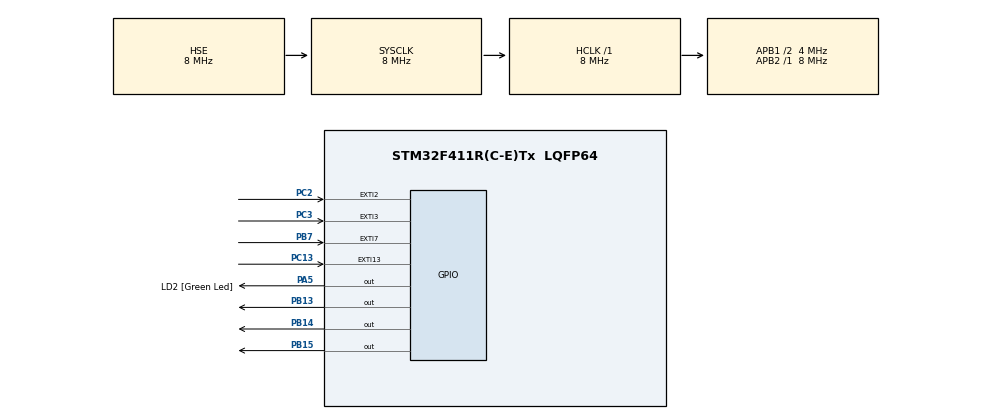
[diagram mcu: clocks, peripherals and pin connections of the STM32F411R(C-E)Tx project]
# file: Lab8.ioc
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FREERTOS.Tasks01=defaultTask,24,128,StartDefaultTask,Default,NULL,Dynamic,NULL,NULL
Mcu.Family=STM32F4
Mcu.Name=STM32F411R(C-E)Tx
Mcu.Package=LQFP64
NVIC.EXTI15_10_IRQn=true\:5\:0\:false\:false\:true\:true\:true\:true\:true
NVIC.EXTI2_IRQn=true\:5\:0\:true\:false\:true\:false\:true\:true\:true
NVIC.EXTI3_IRQn=true\:5\:0\:true\:false\:true\:false\:true\:true\:true
NVIC.EXTI9_5_IRQn=true\:5\:0\:true\:false\:true\:false\:true\:true\:true
NVIC.PriorityGroup=NVIC_PRIORITYGROUP_4
NVIC.TIM3_IRQn=true\:15\:0\:false\:false\:true\:false\:false\:true\:true
NVIC.TimeBase=TIM3_IRQn
NVIC.TimeBaseIP=TIM3
PA14.Signal=SYS_JTCK-SWCLK
PA2.GPIO_Label=USART_TX
PA2.Signal=USART2_TX
PA3.GPIO_Label=USART_RX
PA3.Signal=USART2_RX
PA5.GPIO_Label=LD2 [Green Led]
PA5.Signal=GPIO_Output
PB13.Signal=GPIO_Output
PB14.Signal=GPIO_Output
PB15.Signal=GPIO_Output
PB3.GPIO_Label=SWO
PB3.Signal=SYS_JTDO-SWO
PB7.GPIO_PuPd=GPIO_PULLDOWN
PB7.Signal=GPXTI7
PC13-ANTI_TAMP.GPIO_PuPd=GPIO_PULLDOWN
PC13-ANTI_TAMP.Signal=GPXTI13
PC2.GPIO_PuPd=GPIO_PULLDOWN
PC2.Signal=GPXTI2
PC3.GPIO_PuPd=GPIO_PULLDOWN
PC3.Signal=GPXTI3
PH0\ -\ OSC_IN.Mode=HSE-External-Oscillator
PH0\ -\ OSC_IN.Signal=RCC_OSC_IN
PH1\ -\ OSC_OUT.Mode=HSE-External-Oscillator
PH1\ -\ OSC_OUT.Signal=RCC_OSC_OUT
ProjectManager.HeapSize=0x200
ProjectManager.StackSize=0x400
ProjectManager.TargetToolchain=STM32CubeIDE
RCC.48MHZClocksFreq_Value=84000000
RCC.AHBFreq_Value=8000000
RCC.APB1CLKDivider=RCC_HCLK_DIV2
RCC.APB1Freq_Value=4000000
RCC.APB1TimFreq_Value=8000000
RCC.APB2Freq_Value=8000000
RCC.APB2TimFreq_Value=8000000
RCC.CortexFreq_Value=8000000
RCC.FLatency-AdvancedSettings=FLASH_LATENCY_0
RCC.HCLKFreq_Value=8000000
RCC.HSE_VALUE=8000000
RCC.HSI_VALUE=16000000
RCC.LSE_VALUE=32768
RCC.PLLN=336
RCC.PLLP=RCC_PLLP_DIV4
RCC.SYSCLKFreq_VALUE=8000000
RCC.SYSCLKSource=RCC_SYSCLKSOURCE_HSE
RCC.VCOOutputFreq_Value=336000000
VP_FREERTOS_VS_CMSIS_V2.Mode=CMSIS_V2
VP_SYS_VS_tim3.Mode=TIM3
board=NUCLEO-F411RE

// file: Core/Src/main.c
/* USER CODE BEGIN Header */
/**
  ******************************************************************************
  * @file           : main.c
  * @brief          : Main program body
  ******************************************************************************
  * @attention
  *
  * Copyright (c) 2026 STMicroelectronics.
  * All rights reserved.
  *
  * This software is licensed under terms that can be found in the LICENSE file
  * in the root directory of this software component.
  * If no LICENSE file comes with this software, it is provided AS-IS.
  *
  ******************************************************************************
  */
/*
 * 3. Створити чотири потоки для PA5, PB13 PС2 PС3, які працюють з різними частотами (1 Гц, 2
Гц, 5 Гц, 10 Гц). Кнопки PC13 PB7 PA14 PA15 змінюють duty cycle кожного світлодіода через повідомлення
у чергу.
 */
/* USER CODE END Header */
#include "main.h"
#include "cmsis_os.h"

/* USER CODE BEGIN Includes */
#include "FreeRTOS.h"
#include "queue.h"
/* USER CODE END Includes */

/* Definitions for defaultTask */
osThreadId_t defaultTaskHandle;
const osThreadAttr_t defaultTask_attributes = {
  .name = "defaultTask",
  .stack_size = 128 * 4,
  .priority = (osPriority_t) osPriorityNormal,
};
/* USER CODE BEGIN PV */
xQueueHandle queue1;
xQueueHandle queue2;
xQueueHandle queue3;
xQueueHandle queue4;
/* USER CODE END PV */

void SystemClock_Config(void);
static void MX_GPIO_Init(void);
void StartDefaultTask(void *argument);

/* USER CODE BEGIN PFP */
void LedTask1(void *argument);
void LedTask2(void *argument);
void LedTask3(void *argument);
void LedTask4(void *argument);
/* USER CODE END PFP */

int main(void)
{

  /* MCU Configuration--------------------------------------------------------*/

  /* Reset of all peripherals, Initializes the Flash interface and the Systick. */
  HAL_Init();

  /* Configure the system clock */
  SystemClock_Config();

  /* Initialize all configured peripherals */
  MX_GPIO_Init();

  /* Init scheduler */
  osKernelInitialize();

  /* USER CODE BEGIN RTOS_QUEUES */
  /* add queues, ... */
   queue1 = xQueueCreate(5, sizeof(uint8_t));
   queue2 = xQueueCreate(5, sizeof(uint8_t));
   queue3 = xQueueCreate(5, sizeof(uint8_t));
   queue4 = xQueueCreate(5, sizeof(uint8_t));
  /* USER CODE END RTOS_QUEUES */

  /* Create the thread(s) */
  /* creation of defaultTask */
  defaultTaskHandle = osThreadNew(StartDefaultTask, NULL, &defaultTask_attributes);

  /* USER CODE BEGIN RTOS_THREADS */
  /* add threads, ... */
  xTaskCreate(LedTask1, "LED1", 128, (void*)queue1, 1, NULL);
  xTaskCreate(LedTask2, "LED2", 128, (void*)queue2, 1, NULL);
  xTaskCreate(LedTask3, "LED3", 128, (void*)queue3, 1, NULL);
  xTaskCreate(LedTask4, "LED4", 128, (void*)queue4, 1, NULL);
  /* USER CODE END RTOS_THREADS */

  /* Start scheduler */
  osKernelStart();

  /* We should never get here as control is now taken by the scheduler */

  /* Infinite loop */
  while (1)
  {

  }
}

void SystemClock_Config(void)
{
  RCC_OscInitTypeDef RCC_OscInitStruct = {0};
  RCC_ClkInitTypeDef RCC_ClkInitStruct = {0};

  /** Configure the main internal regulator output voltage
  */
  __HAL_RCC_PWR_CLK_ENABLE();
  __HAL_PWR_VOLTAGESCALING_CONFIG(PWR_REGULATOR_VOLTAGE_SCALE1);

  /** Initializes the RCC Oscillators according to the specified parameters
  * in the RCC_OscInitTypeDef structure.
  */
  RCC_OscInitStruct.OscillatorType = RCC_OSCILLATORTYPE_HSE;
  RCC_OscInitStruct.HSEState = RCC_HSE_ON;
  RCC_OscInitStruct.PLL.PLLState = RCC_PLL_NONE;
  if (HAL_RCC_OscConfig(&RCC_OscInitStruct) != HAL_OK)
  {
    Error_Handler();
  }

  /** Initializes the CPU, AHB and APB buses clocks
  */
  RCC_ClkInitStruct.ClockType = RCC_CLOCKTYPE_HCLK|RCC_CLOCKTYPE_SYSCLK
                              |RCC_CLOCKTYPE_PCLK1|RCC_CLOCKTYPE_PCLK2;
  RCC_ClkInitStruct.SYSCLKSource = RCC_SYSCLKSOURCE_HSE;
  RCC_ClkInitStruct.AHBCLKDivider = RCC_SYSCLK_DIV1;
  RCC_ClkInitStruct.APB1CLKDivider = RCC_HCLK_DIV2;
  RCC_ClkInitStruct.APB2CLKDivider = RCC_HCLK_DIV1;

  if (HAL_RCC_ClockConfig(&RCC_ClkInitStruct, FLASH_LATENCY_0) != HAL_OK)
  {
    Error_Handler();
  }
}

static void MX_GPIO_Init(void)
{
  GPIO_InitTypeDef GPIO_InitStruct = {0};

  /* GPIO Ports Clock Enable */
  __HAL_RCC_GPIOC_CLK_ENABLE();
  __HAL_RCC_GPIOH_CLK_ENABLE();
  __HAL_RCC_GPIOA_CLK_ENABLE();
  __HAL_RCC_GPIOB_CLK_ENABLE();

  /*Configure GPIO pin Output Level */
  HAL_GPIO_WritePin(LD2_GPIO_Port, LD2_Pin, GPIO_PIN_RESET);

  /*Configure GPIO pin Output Level */
  HAL_GPIO_WritePin(GPIOB, GPIO_PIN_13|GPIO_PIN_14|GPIO_PIN_15, GPIO_PIN_RESET);

  /*Configure GPIO pins : PC13 PC2 PC3 */
  GPIO_InitStruct.Pin = GPIO_PIN_13|GPIO_PIN_2|GPIO_PIN_3;
  GPIO_InitStruct.Mode = GPIO_MODE_IT_RISING;
  GPIO_InitStruct.Pull = GPIO_PULLDOWN;
  HAL_GPIO_Init(GPIOC, &GPIO_InitStruct);

  /*Configure GPIO pins : USART_TX_Pin USART_RX_Pin */
  GPIO_InitStruct.Pin = USART_TX_Pin|USART_RX_Pin;
  GPIO_InitStruct.Mode = GPIO_MODE_AF_PP;
  GPIO_InitStruct.Pull = GPIO_NOPULL;
  GPIO_InitStruct.Speed = GPIO_SPEED_FREQ_VERY_HIGH;
  GPIO_InitStruct.Alternate = GPIO_AF7_USART2;
  HAL_GPIO_Init(GPIOA, &GPIO_InitStruct);

  /*Configure GPIO pin : LD2_Pin */
  GPIO_InitStruct.Pin = LD2_Pin;
  GPIO_InitStruct.Mode = GPIO_MODE_OUTPUT_PP;
  GPIO_InitStruct.Pull = GPIO_NOPULL;
  GPIO_InitStruct.Speed = GPIO_SPEED_FREQ_LOW;
  HAL_GPIO_Init(LD2_GPIO_Port, &GPIO_InitStruct);

  /*Configure GPIO pins : PB13 PB14 PB15 */
  GPIO_InitStruct.Pin = GPIO_PIN_13|GPIO_PIN_14|GPIO_PIN_15;
  GPIO_InitStruct.Mode = GPIO_MODE_OUTPUT_PP;
  GPIO_InitStruct.Pull = GPIO_NOPULL;
  GPIO_InitStruct.Speed = GPIO_SPEED_FREQ_LOW;
  HAL_GPIO_Init(GPIOB, &GPIO_InitStruct);

  /*Configure GPIO pin : PB7 */
  GPIO_InitStruct.Pin = GPIO_PIN_7;
  GPIO_InitStruct.Mode = GPIO_MODE_IT_RISING;
  GPIO_InitStruct.Pull = GPIO_PULLDOWN;
  HAL_GPIO_Init(GPIOB, &GPIO_InitStruct);

  /* EXTI interrupt init*/
  HAL_NVIC_SetPriority(EXTI2_IRQn, 5, 0);
  HAL_NVIC_EnableIRQ(EXTI2_IRQn);

  HAL_NVIC_SetPriority(EXTI3_IRQn, 5, 0);
  HAL_NVIC_EnableIRQ(EXTI3_IRQn);

  HAL_NVIC_SetPriority(EXTI9_5_IRQn, 5, 0);
  HAL_NVIC_EnableIRQ(EXTI9_5_IRQn);

  HAL_NVIC_SetPriority(EXTI15_10_IRQn, 5, 0);
  HAL_NVIC_EnableIRQ(EXTI15_10_IRQn);

}

/* USER CODE BEGIN 4 */
void HAL_GPIO_EXTI_Callback(uint16_t GPIO_Pin) {
    BaseType_t xHigherPriorityTaskWoken = pdFALSE;

    // Статичні змінні зберігають попередній стан для кожної кнопки
    static uint8_t duty1 = 50, duty2 = 50, duty3 = 50, duty4 = 50;

    // Кнопка 1 (PC13) -> LED 1 (PA5)
    if (GPIO_Pin == GPIO_PIN_13) {
        duty1 = (duty1 + 25) % 125; // Перемикає: 50->75->100->0->25->50...
        xQueueSendFromISR(queue1, &duty1, &xHigherPriorityTaskWoken);
    }
    // Кнопка 2 (PB7) -> LED 2 (PB13)
    else if (GPIO_Pin == GPIO_PIN_7) {
        duty2 = (duty2 + 25) % 125;
        xQueueSendFromISR(queue2, &duty2, &xHigherPriorityTaskWoken);
    }
    // Кнопка 3 (PС2) -> LED 3 (PB14)
    else if (GPIO_Pin == GPIO_PIN_2) {
        duty3 = (duty3 + 25) % 125;
        xQueueSendFromISR(queue3, &duty3, &xHigherPriorityTaskWoken);
    }
    // Кнопка 4 (PС3) -> LED 4 (PB15)
    else if (GPIO_Pin == GPIO_PIN_3) {
        duty4 = (duty4 + 25) % 125;
        xQueueSendFromISR(queue4, &duty4, &xHigherPriorityTaskWoken);
    }

    portYIELD_FROM_ISR(xHigherPriorityTaskWoken);
}

// Потік 1: PA5, Частота 1 Гц (Період 1000 мс)
void LedTask1(void *argument) {
    uint8_t duty = 50; // За замовчуванням 50%
    uint32_t period = 1000;

    for(;;) {
        xQueueReceive(queue1, &duty, 0); // Перевіряємо чергу без блокування

        uint32_t on_time = (period * duty) / 100;
        uint32_t off_time = period - on_time;

        if (on_time > 0) {
            HAL_GPIO_WritePin(GPIOA, GPIO_PIN_5, GPIO_PIN_SET);
            vTaskDelay(pdMS_TO_TICKS(on_time));
        }
        if (off_time > 0) {
            HAL_GPIO_WritePin(GPIOA, GPIO_PIN_5, GPIO_PIN_RESET);
            vTaskDelay(pdMS_TO_TICKS(off_time));
        }
    }
}

// Потік 2: PB13, Частота 2 Гц (Період 500 мс)
void LedTask2(void *argument) {
    uint8_t duty = 50;
    uint32_t period = 500;

    for(;;) {
        xQueueReceive(queue2, &duty, 0);
        uint32_t on_time = (period * duty) / 100;
        uint32_t off_time = period - on_time;

        if (on_time > 0) {
            HAL_GPIO_WritePin(GPIOB, GPIO_PIN_13, GPIO_PIN_SET);
            vTaskDelay(pdMS_TO_TICKS(on_time));
        }
        if (off_time > 0) {
            HAL_GPIO_WritePin(GPIOB, GPIO_PIN_13, GPIO_PIN_RESET);
            vTaskDelay(pdMS_TO_TICKS(off_time));
        }
    }
}

// Потік 3: PB14, Частота 5 Гц (Період 200 мс)
void LedTask3(void *argument) {
    uint8_t duty = 50;
    uint32_t period = 200;

    for(;;) {
        xQueueReceive(queue3, &duty, 0);
        uint32_t on_time = (period * duty) / 100;
        uint32_t off_time = period - on_time;

        if (on_time > 0) {
            HAL_GPIO_WritePin(GPIOB, GPIO_PIN_14, GPIO_PIN_SET);
            vTaskDelay(pdMS_TO_TICKS(on_time));
        }
        if (off_time > 0) {
            HAL_GPIO_WritePin(GPIOB, GPIO_PIN_14, GPIO_PIN_RESET);
            vTaskDelay(pdMS_TO_TICKS(off_time));
        }
    }
}

// Потік 4: PB15, Частота 10 Гц (Період 100 мс)
void LedTask4(void *argument) {
    uint8_t duty = 50;
    uint32_t period = 100;

    for(;;) {
        xQueueReceive(queue4, &duty, 0);
        uint32_t on_time = (period * duty) / 100;
        uint32_t off_time = period - on_time;

        if (on_time > 0) {
            HAL_GPIO_WritePin(GPIOB, GPIO_PIN_15, GPIO_PIN_SET);
            vTaskDelay(pdMS_TO_TICKS(on_time));
        }
        if (off_time > 0) {
            HAL_GPIO_WritePin(GPIOB, GPIO_PIN_15, GPIO_PIN_RESET);
            vTaskDelay(pdMS_TO_TICKS(off_time));
        }
    }
}
/* USER CODE END 4 */

void StartDefaultTask(void *argument)
{
  for(;;)
  {
    osDelay(1);
  }
}

void HAL_TIM_PeriodElapsedCallback(TIM_HandleTypeDef *htim)
{
  if (htim->Instance == TIM3)
  {
    HAL_IncTick();
  }
}

void Error_Handler(void)
{
  __disable_irq();
  while (1)
  {
  }
}
